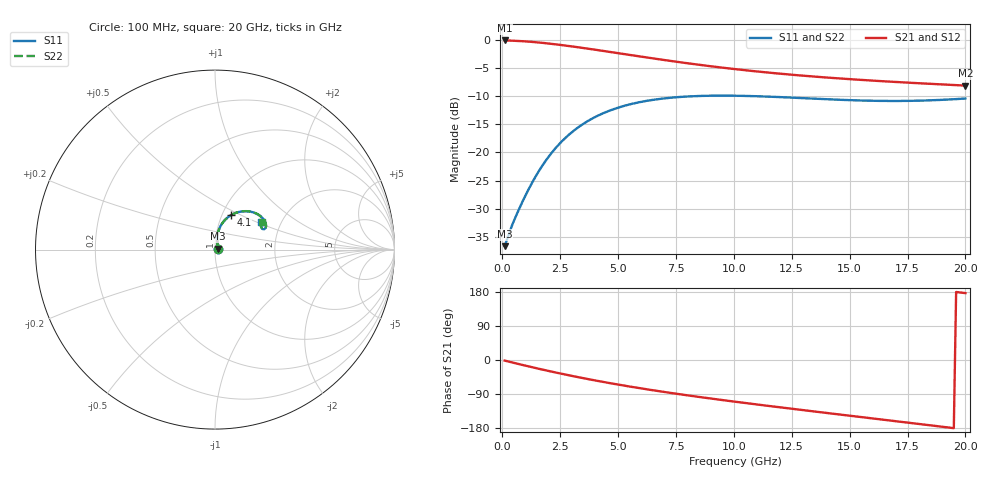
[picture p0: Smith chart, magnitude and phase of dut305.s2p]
! Touchstone file exported from HFSS 2024.1.0
!  File:  C:/UserFiles/LocalFiles/RDL_TSV_Batchsim/temp_RDL_TSV_305_1779626144.aedt
!  Generated:  08:50:39 PM May 24, 2026
!  Design:  RDL_TSV
!  Project:  temp_RDL_TSV_305_1779626144
!  Setup:  Setup1
!  Solution:  Sweep
! Variables:
!  dtsv = 6.28um
!  hbump = 3um
!  htsv = 66.39um
!  ldown = 634.56um
!  lrdl = 189.47um
!  p = 40
!  p1 = 53.73um
!  rhole = 10um
!  subl = 2661.56um
!  t = 450um
!  tdown = 3um
!  trdl = 4.82um
!  viad = 10um
!  wdown = 28.7um
!  wrdl = 11.8um
!  xbump = 18um
# GHz S MA R 50.000000
! Terminal data exported
! Port[1] = TM1_1_T1
! Port[2] = TM1_4_T1
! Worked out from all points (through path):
!   200 points, 100 MHz to 20 GHz, reference 50 ohm
!   highest |S21| = -0.12 dB at 100 MHz (marker M1); lowest = -8.1 dB at 20 GHz (marker M2)
!   group delay of S21, straight-line fit = 24.1 ps
!   lowest |S11| = -36.7 dB at 100 MHz (marker M3), VSWR 1.03, Z = 51.4 + j0.452 ohm
!   |S11| at or under -10 dB: start of sweep to 8.415 GHz; 10.74 GHz to end of sweep
!   |S22| runs from -36.7 to -9.9 dB; largest |S21 - S12| = 1.6e-14
!   S11 on the Smith chart (normalised r, x): 100 MHz: 1.03, +0.01; 4.1 GHz: 1.10, +0.44; 20 GHz: 1.59, +0.54
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0.1  0.01468 17.4  0.9858 -1.6  0.9858 -1.6  0.01468 17.4
! Gamma 0 0 0 0
! Port Impedance 50 0 50 0
0.4  0.02189 46.3  0.9816 -6.1  0.9816 -6.1  0.02189 46.3
0.8  0.03392 64.9  0.9729 -12.0  0.9729 -12.0  0.03391 64.9
1.3  0.05437 76.3  0.9567 -19.2  0.9567 -19.2  0.05436 76.3
1.7  0.07464 79.6  0.9401 -24.9  0.9401 -24.9  0.07463 79.6
2.1  0.0972 79.8  0.9211 -30.3  0.9211 -30.3  0.0972 79.8
2.5  0.1209 78.2  0.9004 -35.6  0.9004 -35.6  0.1209 78.2
3  0.1507 74.8  0.8731 -41.9  0.8731 -41.9  0.1507 74.8
3.5  0.1792 70.6  0.8448 -48.0  0.8448 -48.0  0.1792 70.6
4.1  0.2104 65.3  0.8107 -55.0  0.8107 -55.0  0.2105 65.3
4.7  0.2375 59.9  0.7769 -61.6  0.7769 -61.6  0.2376 60.0
5.3  0.2601 54.9  0.7442 -68.0  0.7442 -68.0  0.2602 54.9
6  0.2809 49.4  0.7079 -75.0  0.7079 -75.0  0.2811 49.5
6.8  0.2983 43.9  0.6695 -82.6  0.6695 -82.6  0.2985 43.9
8.4  0.3161 34.9  0.603 -96.7  0.603 -96.7  0.3165 34.9
10.1  0.3183 28.2  0.5471 -110.4  0.5471 -110.4  0.3188 28.2
11.7  0.3113 24.4  0.5061 -122.7  0.5061 -122.7  0.312 24.4
13.4  0.3003 22.6  0.4721 -135.3  0.4721 -135.3  0.301 22.6
15  0.2908 23.0  0.4468 -147.0  0.4468 -147.0  0.2917 22.9
16.7  0.286 25.1  0.425 -159.4  0.425 -159.4  0.2868 25.0
18.3  0.2889 27.9  0.4078 -171.0  0.4078 -171.0  0.2898 27.7
20  0.3007 30.7  0.3918 176.5  0.3918 176.5  0.3014 30.5
